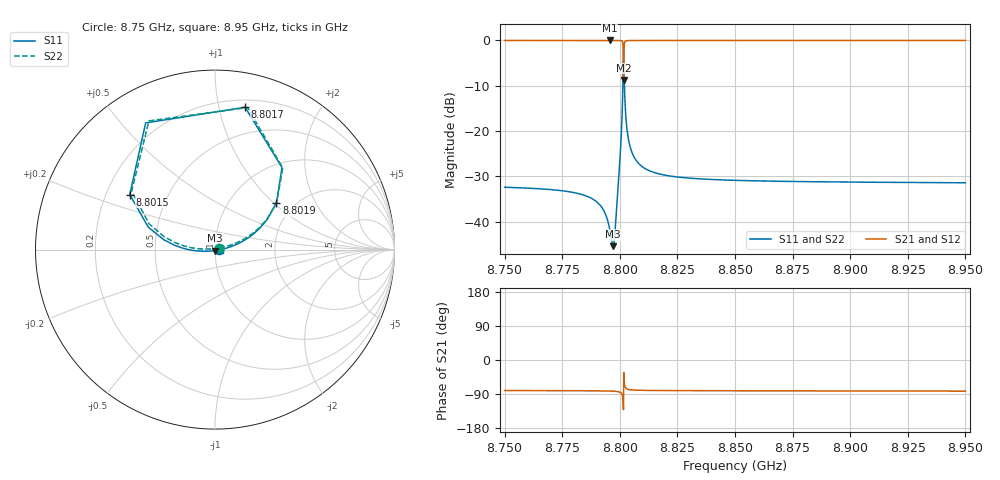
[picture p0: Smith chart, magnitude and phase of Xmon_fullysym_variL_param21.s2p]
! Sonnet Data File
! From: emgraph Version : 16.52
! From Project: 171117_Xmon_fullysym
! Data is De-embedded
! Data File Written: 11/26/2017 17:14:24
!< HDATE 11/22/2017 16:48:52
!< MDATE 11/23/2017 10:16:42
!< PARAMS
!< Lj = 11.0
!< Gap = 1.0
!< Pwid = 2000.0
!< Airgap = 6.0
!< Width = 10.0
!< Lj1 = 9.9
!< END PARAMS
# GHZ S MA R 50.90000
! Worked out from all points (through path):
!   2001 points, 8.75 GHz to 8.95 GHz, reference 50.9 ohm
!   highest |S21| = 0.00 dB at 8.7956 GHz (marker M1); lowest = -8.7 dB at 8.8017 GHz (marker M2)
!   lowest |S11| = -45.4 dB at 8.7971 GHz (marker M3), VSWR 1.01, Z = 51 - j0.544 ohm
!   |S11| at or under -10 dB: start of sweep to 8.8013 GHz; 8.802 GHz to end of sweep
!   |S22| runs from -45.0 to -1.8 dB; largest |S21 - S12| = 1.3e-10
!   S11 on the Smith chart (normalised r, x): 8.75 GHz: 1.05, -0.00; 8.8015 GHz: 0.30, +0.27; 8.8017 GHz: 0.26, +1.20; 8.8019 GHz: 1.63, +1.04; 8.95 GHz: 1.06, -0.00
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8.75  0.02403 -3.0  0.9997 -80.5  0.9997 -80.5  0.02404 22.0
!< P1 F=8.75 Eeff=(6.44841643 -2.9796e-5) Z0=(50.9085185 1.17018e-4) R=0.0 C=0.0
!< P2 F=8.75 Eeff=(6.44841643 -2.9796e-5) Z0=(50.9085185 1.17018e-4) R=0.0 C=0.0
8.7834  0.02003 -6.3  0.9998 -81.0  0.9998 -81.0  0.02004 24.2
8.7916  0.01506 -12.1  0.9999 -81.4  0.9999 -81.4  0.01508 29.4
8.7956  0.008332 -31.9  0.9999 -81.9  0.9999 -81.9  0.008414 48.8
8.7971  0.005381 -82.3  0.9999 -82.3  0.9999 -82.3  0.0056 97.7
8.7979  0.007701 -128.2  0.9998 -82.6  0.9998 -82.6  0.007926 141.3
8.7988  0.01628 -153.9  0.9996 -83.2  0.9996 -83.2  0.01647 165.7
8.8  0.04549 -168.4  0.9981 -84.9  0.9981 -84.9  0.04569 176.6
8.8006  0.08549 -174.3  0.9943 -87.2  0.9943 -87.2  0.08575 177.2
8.801  0.1519 179.7  0.9832 -91.0  0.9832 -91.0  0.1523 174.4
8.8015  0.5655 147.1  0.7544 -116.5  0.7544 -116.5  0.5666 145.1
8.8017  0.8104 78.1  0.3665 -32.9  0.3665 -32.9  0.8118 77.1
8.8019  0.4298 37.2  0.8725 -56.9  0.8725 -56.9  0.4305 37.2
8.8027  0.1358 14.6  0.9887 -74.5  0.9887 -74.5  0.1359 18.0
8.8036  0.08558 9.9  0.9957 -77.4  0.9957 -77.4  0.08565 16.0
8.8057  0.05481 5.8  0.9984 -79.2  0.9984 -79.2  0.05484 16.0
8.8097  0.04059 2.8  0.9991 -80.1  0.9991 -80.1  0.0406 17.1
8.8167  0.03391 0.8  0.9994 -80.5  0.9994 -80.5  0.03392 18.2
8.85  0.02864 -1.7  0.9996 -81.2  0.9996 -81.2  0.02864 19.4
8.8834  0.02766 -2.5  0.9996 -81.5  0.9996 -81.5  0.02766 19.5
8.9167  0.02721 -3.1  0.9996 -81.9  0.9996 -81.9  0.02721 19.4
8.95  0.02692 -3.6  0.9996 -82.2  0.9996 -82.2  0.02692 19.3
